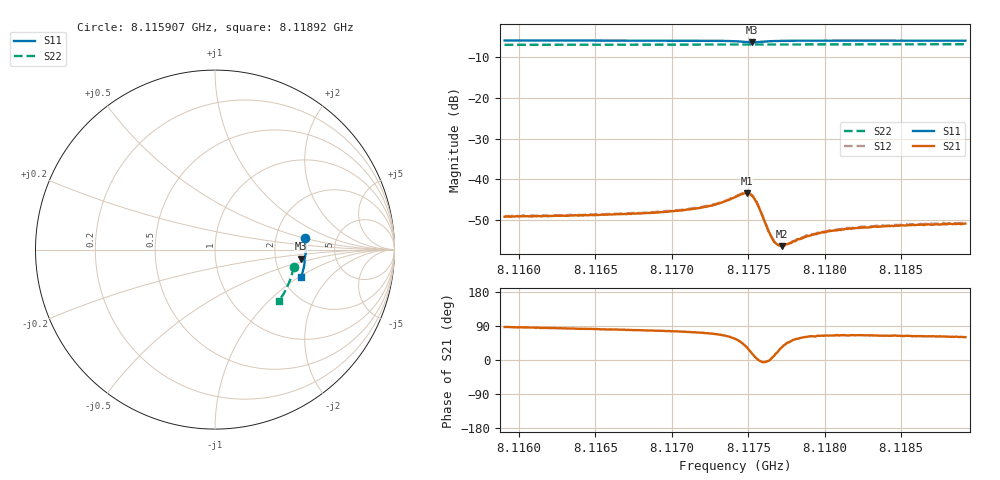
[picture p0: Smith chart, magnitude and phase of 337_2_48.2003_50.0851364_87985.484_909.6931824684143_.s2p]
#  HZ  S  RI  R  50.00
! Rohde & Schwarz Vector Network Analyzer
! Rohde-Schwarz,ZNB20-2Port,1311601062101988,3.16
! Created: UTC 3/20/2024, 11:51:08 AM
! freq[Hz]  re:S11  im:S11  re:S21  im:S21  re:S12  im:S12  re:S22  im:S22
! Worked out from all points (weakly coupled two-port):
!   401 points, 8.115907 GHz to 8.11892 GHz, reference 50 ohm
!   highest |S21| = -43.42 dB at 8.117488 GHz (marker M1); lowest = -56.4 dB at 8.117722 GHz (marker M2)
!   lowest |S11| = -6.3 dB at 8.117526 GHz (marker M3), VSWR 2.86, Z = 140 - j18.4 ohm
!   |S11| at or under -10 dB: nowhere
!   |S22| runs from -7.0 to -6.8 dB; largest |S21 - S12| = 0.00017
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8.1159065e9  0.5033 0.0651  0.000178 0.00346  0.000229 0.00353  0.4382 -0.0949
8.1164112e9  0.5059 0.0272  0.000503 0.00358  0.000521 0.00358  0.4307 -0.1291
8.116916e9  0.5056 -0.0116  0.000853 0.00381  0.000955 0.00389  0.4206 -0.1627
8.1170892e9  0.5046 -0.0255  0.00113 0.00406  0.0012 0.00409  0.4166 -0.1742
8.1172474e9  0.5022 -0.0392  0.0016 0.00441  0.00165 0.00448  0.4124 -0.1845
8.1174132e9  0.4937 -0.0552  0.00336 0.005  0.00348 0.00507  0.4077 -0.1952
8.1174885e9  0.4823 -0.0568  0.00558 0.00379  0.00571 0.0038  0.4051 -0.1997
8.1175261e9  0.4789 -0.0505  0.00596 0.00174  0.00613 0.00174  0.404 -0.2017
8.1175412e9  0.4799 -0.0476  0.00563 0.000907  0.00575 0.000901  0.4037 -0.2026
8.1175638e9  0.4831 -0.0448  0.00476 6.27e-05  0.00483 1.9e-05  0.4032 -0.2038
8.1176241e9  0.4927 -0.0466  0.00252 -0.00014  0.00257 -0.000221  0.402 -0.2076
8.1176542e9  0.4955 -0.0499  0.0019 0.00018  0.00191 0.000167  0.4012 -0.2096
8.1176843e9  0.4973 -0.0533  0.00152 0.000508  0.00159 0.000509  0.4004 -0.2115
8.1177069e9  0.498 -0.0559  0.00133 0.000734  0.0014 0.000725  0.3997 -0.2131
8.117722e9  0.4984 -0.0576  0.00124 0.000851  0.00129 0.000884  0.3994 -0.214
8.1177597e9  0.4988 -0.0616  0.00111 0.00115  0.00113 0.00115  0.398 -0.2166
8.1178651e9  0.499 -0.0717  0.00096 0.00167  0.000987 0.0017  0.3949 -0.223
8.1179179e9  0.4986 -0.0761  0.000962 0.00185  0.000994 0.00187  0.3931 -0.2265
8.1180384e9  0.4973 -0.086  0.000998 0.00212  0.00102 0.0021  0.3891 -0.2338
8.1181439e9  0.4958 -0.0943  0.00104 0.00222  0.00107 0.00228  0.3856 -0.2404
8.1184226e9  0.4913 -0.1155  0.00117 0.00239  0.00115 0.00245  0.3754 -0.2573
8.1189198e9  0.4812 -0.1515  0.00141 0.00248  0.00143 0.00252  0.3559 -0.2861
